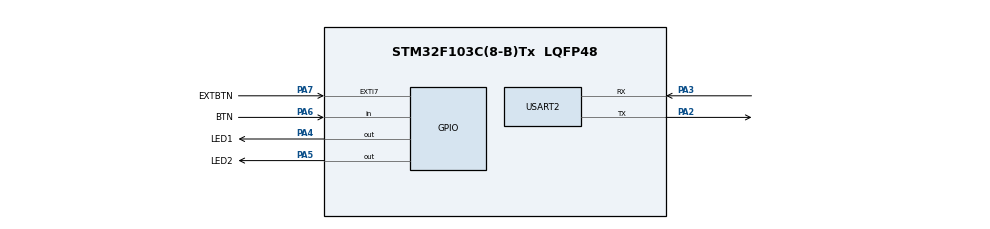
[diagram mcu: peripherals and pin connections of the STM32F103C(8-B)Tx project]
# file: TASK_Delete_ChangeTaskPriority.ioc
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FREERTOS.Tasks01=defaultTask,24,128,StartDefaultTask,Default,NULL,Dynamic,NULL,NULL
Mcu.Family=STM32F1
Mcu.Name=STM32F103C(8-B)Tx
Mcu.Package=LQFP48
NVIC.EXTI9_5_IRQn=true\:5\:0\:true\:false\:true\:false\:true\:true
NVIC.PriorityGroup=NVIC_PRIORITYGROUP_4
NVIC.TIM3_IRQn=true\:0\:0\:false\:false\:true\:false\:false\:true
NVIC.TimeBase=TIM3_IRQn
NVIC.TimeBaseIP=TIM3
PA13.Mode=Serial_Wire
PA13.Signal=SYS_JTMS-SWDIO
PA14.Mode=Serial_Wire
PA14.Signal=SYS_JTCK-SWCLK
PA2.Mode=Asynchronous
PA2.Signal=USART2_TX
PA3.Mode=Asynchronous
PA3.Signal=USART2_RX
PA4.GPIO_Label=LED1
PA4.PinState=GPIO_PIN_SET
PA4.Signal=GPIO_Output
PA5.GPIO_Label=LED2
PA5.PinState=GPIO_PIN_SET
PA5.Signal=GPIO_Output
PA6.GPIO_Label=BTN
PA6.GPIO_PuPd=GPIO_PULLUP
PA6.Signal=GPIO_Input
PA7.GPIO_Label=EXTBTN
PA7.GPIO_ModeDefaultEXTI=GPIO_MODE_IT_FALLING
PA7.GPIO_PuPd=GPIO_PULLUP
PA7.Signal=GPXTI7
PC14-OSC32_IN.Mode=LSE-External-Oscillator
PC14-OSC32_IN.Signal=RCC_OSC32_IN
PC15-OSC32_OUT.Mode=LSE-External-Oscillator
PC15-OSC32_OUT.Signal=RCC_OSC32_OUT
PD0-OSC_IN.Mode=HSE-External-Oscillator
PD0-OSC_IN.Signal=RCC_OSC_IN
PD1-OSC_OUT.Mode=HSE-External-Oscillator
PD1-OSC_OUT.Signal=RCC_OSC_OUT
ProjectManager.HeapSize=0x200
ProjectManager.StackSize=0x400
ProjectManager.TargetToolchain=STM32CubeIDE
RCC.APB1Freq_Value=8000000
RCC.APB2Freq_Value=8000000
USART2.VirtualMode=VM_ASYNC
VP_FREERTOS_VS_CMSIS_V2.Mode=CMSIS_V2
VP_SYS_VS_tim3.Mode=TIM3
board=custom

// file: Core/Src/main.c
/* USER CODE BEGIN Header */
/**
  ******************************************************************************
  * @file           : main.c
  * @brief          : Main program body
  ******************************************************************************
  * @attention
  *
  * <h2><center>&copy; Copyright (c) 2021 STMicroelectronics.
  * All rights reserved.</center></h2>
  *
  * This software component is licensed by ST under Ultimate Liberty license
  * SLA0044, the "License"; You may not use this file except in compliance with
  * the License. You may obtain a copy of the License at:
  *                             www.st.com/SLA0044
  *
  ******************************************************************************
  */
/* USER CODE END Header */
#include "main.h"
#include "cmsis_os.h"
#include "usart.h"
#include "gpio.h"

void SystemClock_Config(void);
void MX_FREERTOS_Init(void);

int main(void)
{

  /* MCU Configuration--------------------------------------------------------*/

  /* Reset of all peripherals, Initializes the Flash interface and the Systick. */
  HAL_Init();

  /* Configure the system clock */
  SystemClock_Config();

  /* Initialize all configured peripherals */
  MX_GPIO_Init();
  MX_USART2_UART_Init();

  /* Init scheduler */
  osKernelInitialize();  /* Call init function for freertos objects (in freertos.c) */
  MX_FREERTOS_Init();
  /* Start scheduler */
  osKernelStart();

  /* We should never get here as control is now taken by the scheduler */
  /* Infinite loop */
  while (1)
  {

  }
}

void SystemClock_Config(void)
{
  RCC_OscInitTypeDef RCC_OscInitStruct = {0};
  RCC_ClkInitTypeDef RCC_ClkInitStruct = {0};

  /** Initializes the RCC Oscillators according to the specified parameters
  * in the RCC_OscInitTypeDef structure.
  */
  RCC_OscInitStruct.OscillatorType = RCC_OSCILLATORTYPE_HSI;
  RCC_OscInitStruct.HSIState = RCC_HSI_ON;
  RCC_OscInitStruct.HSICalibrationValue = RCC_HSICALIBRATION_DEFAULT;
  RCC_OscInitStruct.PLL.PLLState = RCC_PLL_NONE;
  if (HAL_RCC_OscConfig(&RCC_OscInitStruct) != HAL_OK)
  {
    Error_Handler();
  }
  /** Initializes the CPU, AHB and APB buses clocks
  */
  RCC_ClkInitStruct.ClockType = RCC_CLOCKTYPE_HCLK|RCC_CLOCKTYPE_SYSCLK
                              |RCC_CLOCKTYPE_PCLK1|RCC_CLOCKTYPE_PCLK2;
  RCC_ClkInitStruct.SYSCLKSource = RCC_SYSCLKSOURCE_HSI;
  RCC_ClkInitStruct.AHBCLKDivider = RCC_SYSCLK_DIV1;
  RCC_ClkInitStruct.APB1CLKDivider = RCC_HCLK_DIV1;
  RCC_ClkInitStruct.APB2CLKDivider = RCC_HCLK_DIV1;

  if (HAL_RCC_ClockConfig(&RCC_ClkInitStruct, FLASH_LATENCY_0) != HAL_OK)
  {
    Error_Handler();
  }
}

 /**
  * @brief  Period elapsed callback in non blocking mode
  * @note   This function is called  when TIM3 interrupt took place, inside
  * HAL_TIM_IRQHandler(). It makes a direct call to HAL_IncTick() to increment
  * a global variable "uwTick" used as application time base.
  * @param  htim : TIM handle
  * @retval None
  */
void HAL_TIM_PeriodElapsedCallback(TIM_HandleTypeDef *htim)
{
  if (htim->Instance == TIM3) {
    HAL_IncTick();
  }
}

void Error_Handler(void)
{
  __disable_irq();
  while (1)
  {
  }
}

/************************ (C) COPYRIGHT STMicroelectronics *****END OF FILE****/

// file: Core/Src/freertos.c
/* USER CODE BEGIN Header */
/**
  ******************************************************************************
  * File Name          : freertos.c
  * Description        : Code for freertos applications
  ******************************************************************************
  * @attention
  *
  * <h2><center>&copy; Copyright (c) 2021 STMicroelectronics.
  * All rights reserved.</center></h2>
  *
  * This software component is licensed by ST under Ultimate Liberty license
  * SLA0044, the "License"; You may not use this file except in compliance with
  * the License. You may obtain a copy of the License at:
  *                             www.st.com/SLA0044
  *
  ******************************************************************************
  */
/* USER CODE END Header */

#include "FreeRTOS.h"
#include "task.h"
#include "main.h"
#include "cmsis_os.h"

/* USER CODE BEGIN Includes */
#include "usart.h"
#include <string.h>
#include <stdio.h>
/* USER CODE END Includes */

/* USER CODE BEGIN Variables */
TaskHandle_t xLed1Handler = NULL;
TaskHandle_t xLed2Handler = NULL;

volatile uint8_t u8Flag= 0u;

/* USER CODE END Variables */
/* Definitions for defaultTask */
osThreadId_t defaultTaskHandle;
const osThreadAttr_t defaultTask_attributes = {
  .name = "defaultTask",
  .priority = (osPriority_t) osPriorityNormal,
  .stack_size = 128
};

/* USER CODE BEGIN FunctionPrototypes */
void vLed1Handler( void *argument);
void vLed2Handler( void *argument);
static void prvDelay( uint32_t u32TimeMs);
/* USER CODE END FunctionPrototypes */

void StartDefaultTask(void *argument);

void MX_FREERTOS_Init(void); /* (MISRA C 2004 rule 8.1) */

void MX_FREERTOS_Init(void) {

  /* Create the thread(s) */
  /* creation of defaultTask */
  defaultTaskHandle = osThreadNew(StartDefaultTask, NULL, &defaultTask_attributes);

  /* USER CODE BEGIN RTOS_THREADS */
  /* add threads, ... */
  xTaskCreate(vLed1Handler, "LED-1", 256u, NULL, 20u, &xLed1Handler);
  xTaskCreate(vLed2Handler, "LED-2", 256u, NULL, 10u, &xLed2Handler);
  /* USER CODE END RTOS_THREADS */

}

void StartDefaultTask(void *argument)
{
  /* USER CODE BEGIN StartDefaultTask */
  /* Infinite loop */
  for(;;)
  {
    vTaskDelay(1000);
  }
  /* USER CODE END StartDefaultTask */
}

/* USER CODE BEGIN Application */
void vLed1Handler( void *argument ){
	UBaseType_t xLed1TaskPriority, xLed2TaskPriority;
	uint8_t msg[100];

	while(1){
		/* get priority value of each task  */
		xLed1TaskPriority = uxTaskPriorityGet(xLed1Handler);
		xLed2TaskPriority = uxTaskPriorityGet(xLed2Handler);
		sprintf((char*)msg, "The priority of Task 1 and Task 2: %d - %d \n", (int)xLed1TaskPriority, (int)xLed2TaskPriority);
		HAL_UART_Transmit(&huart2, msg, strlen((char*)msg), 30u);
		HAL_UART_Transmit(&huart2, (uint8_t*)"Task 1 handle\n", 15u, 30u);
		prvDelay(1000u);
		vTaskDelay(1000);
		if(0U == HAL_GPIO_ReadPin(GPIOA, GPIO_PIN_6) ){
			vTaskDelete(NULL);
		}
		if( u8Flag == 1u ){
			/* clear flag */
			__disable_irq();
			u8Flag = 0u;
			/* set priority of eack task */
			vTaskPrioritySet(xLed2Handler, xLed1TaskPriority);
			vTaskPrioritySet(xLed1Handler, xLed2TaskPriority);
			__enable_irq();
		}
	}
}

void vLed2Handler( void *argument ){
	UBaseType_t xLed1TaskPriority, xLed2TaskPriority;
	uint8_t msg[100];
	while(1){
		/* get priority value of each task  */
		xLed1TaskPriority = uxTaskPriorityGet(xLed1Handler);
		xLed2TaskPriority = uxTaskPriorityGet(xLed2Handler);
		sprintf((char*)msg, "The priority of Task 1 and Task 2: %d - %d \n", (int)xLed1TaskPriority, (int)xLed2TaskPriority);
		HAL_UART_Transmit(&huart2, msg, strlen((char*)msg), 30u);
		HAL_UART_Transmit(&huart2, (uint8_t*)"Task 2 handle\n", 15u, 30u);
		prvDelay(1000u);

		if( u8Flag == 1u ){
			__disable_irq();
			/* clear flag */
			u8Flag = 0u;
			/* set priority of eack task */
			vTaskPrioritySet(xLed1Handler, xLed2TaskPriority);
			vTaskPrioritySet(xLed2Handler, xLed1TaskPriority);
			__enable_irq();
		}
	}
}

static void prvDelay( uint32_t u32TimeMs){
	uint32_t u32TickSet, u32TickCurrent;
	/* convert ms to tick */
	u32TickSet= u32TimeMs/1000*configTICK_RATE_HZ;
	u32TickCurrent= xTaskGetTickCount();
	/* block delay */
	while( xTaskGetTickCount() < (u32TickCurrent + u32TickSet));
}

void HAL_GPIO_EXTI_Callback(uint16_t GPIO_Pin)
{
  /* Prevent unused argument(s) compilation warning */
  UNUSED(GPIO_Pin);
  if( GPIO_Pin == GPIO_PIN_7 ){
	  u8Flag= 1u;
  }
}
/* USER CODE END Application */

/************************ (C) COPYRIGHT STMicroelectronics *****END OF FILE****/
